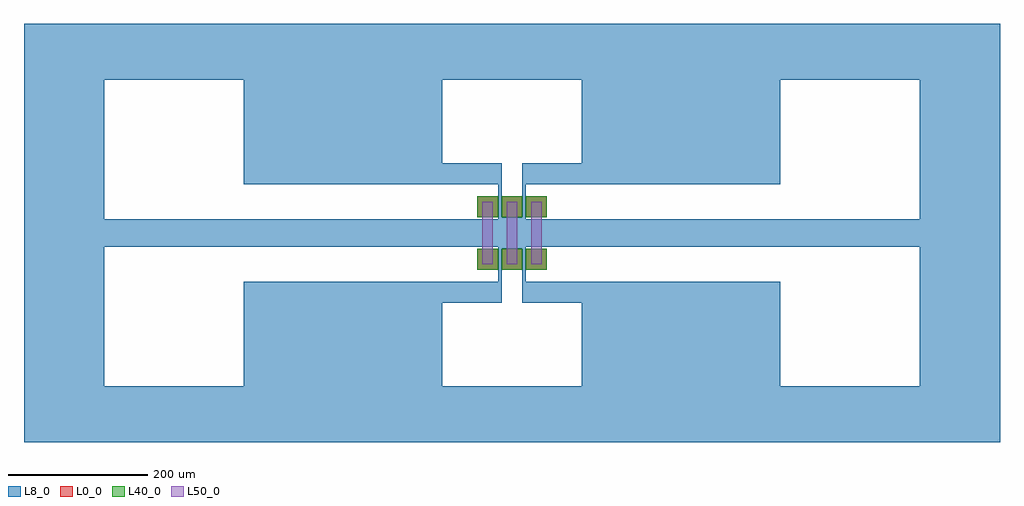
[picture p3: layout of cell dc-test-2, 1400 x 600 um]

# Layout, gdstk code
import gdstk
lib = gdstk.Library(unit=1e-6, precision=1e-09)
def R(c, l, rs):  # rectangles x0, y0, x1, y1
    for r in rs: c.add(gdstk.rectangle(r[:2], r[2:], *l))
def A(c, l, x, y, w, h, nx, ny, dx, dy):  # array of equal rectangles
    R(c, l, [(x+i*dx, y+j*dy, x+i*dx+w, y+j*dy+h) for i in range(nx) for j in range(ny)])
def P(c, l, *ps):  # polygons
    for p in ps: c.add(gdstk.Polygon(p, *l))
L0_0 = (0, 0)
L8_0 = (8, 0)
L40_0 = (40, 0)
L50_0 = (50, 0)

airbridge = lib.new_cell('airbridge')
R(airbridge, L40_0, [(-15,-52.5,15,-22.5), (-15,22.5,15,52.5)])
R(airbridge, L50_0, [(-7.5,-45,7.5,45)])

cpw_airbridge = lib.new_cell('cpw-airbridge')
A(cpw_airbridge, L0_0, -50, -52.5, 30, 30, 3, 2, 35, 75)
cpw_airbridge.add(gdstk.Reference(airbridge, (-35,0)))
cpw_airbridge.add(gdstk.Reference(airbridge, (35,0)))
cpw_airbridge.add(gdstk.Reference(airbridge, (0,0)))

dc_test_2 = lib.new_cell('dc-test-2')
P(dc_test_2, L8_0, [(700,300),(385,300),(385,220),(585,220),(585,20),(35,20),(35,-20),(585,-20),(585,-220),(385,-220),(385,-70),(20,-70),(20,-20),(35,-20),(35,20),(20,20),(20,70),(385,70),(385,300),(-100,300),(-100,220),(100,220),(100,100),(15,100),(15,22.5),(-15,22.5),(-15,-22.5),(15,-22.5),(15,-100),(100,-100),(100,-220),(-100,-220),(-100,-100),(-15,-100),(-15,100),(-100,100),(-100,300),(-585,300),(-585,220),(-385,220),(-385,70),(-20,70),(-20,20),(-35,20),(-35,-20),(-20,-20),(-20,-70),(-385,-70),(-385,-220),(-585,-220),(-585,-20),(-35,-20),(-35,20),(-585,20),(-585,300),(-700,300),(-700,-300),(700,-300)])
dc_test_2.add(gdstk.Reference(cpw_airbridge, (0,0)))

lib.write_gds('dc-test-2.gds')
